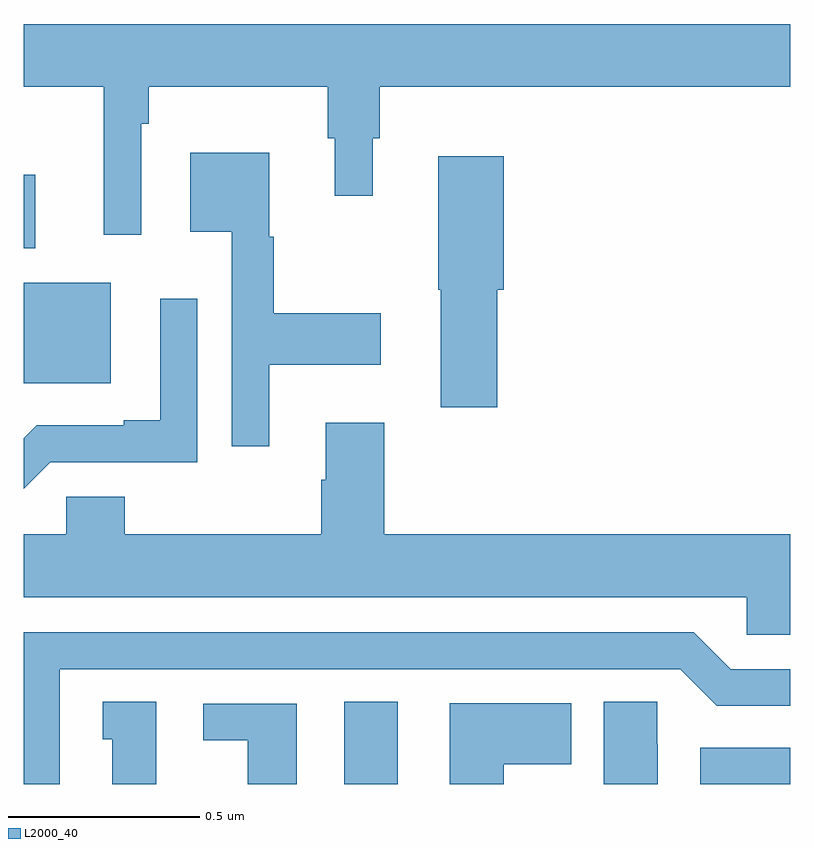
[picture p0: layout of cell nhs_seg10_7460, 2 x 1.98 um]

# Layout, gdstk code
import gdstk
lib = gdstk.Library(unit=1e-6, precision=1e-09)
def R(c, l, rs):  # rectangles x0, y0, x1, y1
    for r in rs: c.add(gdstk.rectangle(r[:2], r[2:], *l))
def P(c, l, *ps):  # polygons
    for p in ps: c.add(gdstk.Polygon(p, *l))
L2000_40 = (2000, 40)

nhs_seg10_7460 = lib.new_cell('nhs_seg10_7460')
R(nhs_seg10_7460, L2000_40, [(204.836,1294.5,204.976,1294.715), (205.766,1294.5,206,1294.594), (204,1295.546,204.226,1295.809), (204,1295.898,204.029,1296.091)])
P(nhs_seg10_7460, L2000_40, [(204.306,1296.224),(204.326,1296.224),(204.326,1296.32),(204.793,1296.32),(204.793,1296.186),(204.812,1296.186),(204.812,1296.036),(204.91,1296.036),(204.91,1296.186),(204.929,1296.186),(204.929,1296.32),(206,1296.32),(206,1296.484),(204,1296.484),(204,1296.32),(204.209,1296.32),(204.209,1295.934),(204.306,1295.934)],
  [(204.64,1295.594),(204.931,1295.594),(204.931,1295.729),(204.652,1295.729),(204.652,1295.928),(204.64,1295.928),(204.64,1296.148),(204.434,1296.148),(204.434,1295.942),(204.543,1295.942),(204.543,1295.382),(204.64,1295.382)],
  [(205.235,1295.79),(205.253,1295.79),(205.253,1296.139),(205.082,1296.139),(205.082,1295.79),(205.088,1295.79),(205.088,1295.484),(205.235,1295.484)],
  [(204.069,1295.34),(204.453,1295.34),(204.453,1295.767),(204.356,1295.767),(204.356,1295.449),(204.26,1295.449),(204.26,1295.436),(204.033,1295.436),(204,1295.403),(204,1295.271)],
  [(206,1295.152),(204.941,1295.152),(204.941,1295.443),(204.788,1295.443),(204.788,1295.294),(204.776,1295.294),(204.776,1295.152),(204.263,1295.152),(204.263,1295.25),(204.111,1295.25),(204.111,1295.152),(204,1295.152),(204,1294.988),(205.887,1294.988),(205.887,1294.89),(206,1294.89)],
  [(204.094,1294.8),(205.713,1294.8),(205.809,1294.704),(206,1294.704),(206,1294.8),(205.845,1294.8),(205.749,1294.896),(204,1294.896),(204,1294.5),(204.094,1294.5)],
  [(204.346,1294.715),(204.206,1294.715),(204.206,1294.617),(204.23,1294.617),(204.23,1294.5),(204.346,1294.5)],
  [(205.654,1294.604),(205.653,1294.604),(205.653,1294.715),(205.514,1294.715),(205.514,1294.5),(205.654,1294.5)],
  [(205.252,1294.552),(205.429,1294.552),(205.429,1294.711),(205.112,1294.711),(205.112,1294.5),(205.252,1294.5)],
  [(204.712,1294.71),(204.468,1294.71),(204.468,1294.614),(204.584,1294.614),(204.584,1294.5),(204.712,1294.5)])

lib.write_gds('nhs_seg10_7460.gds')
